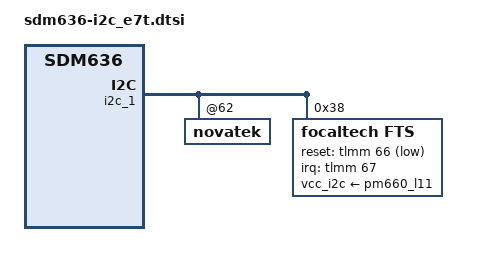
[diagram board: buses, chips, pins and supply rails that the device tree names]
// SPDX-License-Identifier: GPL-2.0-only

&i2c_1 {
	novatek@62 {
	/delete-property/ interrupt-parent;
	/delete-property/ interrupts;
	/delete-property/ pinctrl-names;
	/delete-property/ pinctrl-0;
	/delete-property/ pinctrl-1;
	};

	focaltech@38{
		compatible = "focaltech,fts";
		reg = <0x38>;
		interrupt-parent = <&tlmm>;
		interrupts = <67 0x02>;
		vcc_i2c-supply=<&pm660_l11>;
		focaltech,reset-gpio = <&tlmm 66 0x01>;
		focaltech,irq-gpio = <&tlmm 67 0x02>;
		focaltech,max-touch-number = <10>;
		focaltech,display-coords =  <0 0 1080 2280>;
		pinctrl-names = "pmx_ts_active","pmx_ts_suspend";
		pinctrl-0 = <&ts_active>;
		pinctrl-1 = <&ts_int_suspend &ts_reset_suspend>;
		focaltech,have-key;
		focaltech,key-number = <0>;
		focaltech,keys = <139 102 158>;
		focaltech,key-y-coord = <2500>;
		focaltech,key-x-coords = <200 600 800>;
	};
};
